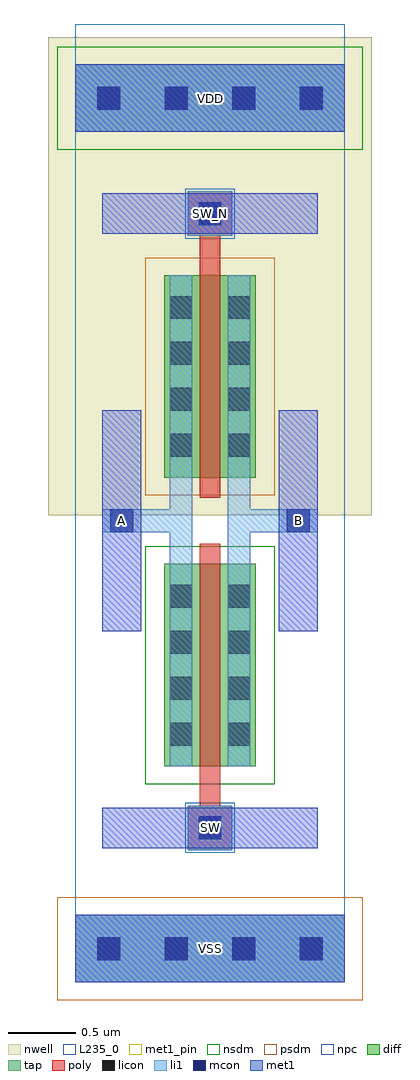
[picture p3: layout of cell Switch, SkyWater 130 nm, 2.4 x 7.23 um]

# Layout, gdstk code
import gdstk
lib = gdstk.Library(unit=1e-6, precision=1e-09)
def R(c, l, rs):  # rectangles x0, y0, x1, y1
    for r in rs: c.add(gdstk.rectangle(r[:2], r[2:], *l))
def A(c, l, x, y, w, h, nx, ny, dx, dy):  # array of equal rectangles
    R(c, l, [(x+i*dx, y+j*dy, x+i*dx+w, y+j*dy+h) for i in range(nx) for j in range(ny)])
nwell = (64, 20)
diff = (65, 20)
tap = (65, 44)
poly = (66, 20)
licon = (66, 44)
li1 = (67, 20)
mcon = (67, 44)
met1_pin = (68, 16)
met1 = (68, 20)
nsdm = (93, 44)
psdm = (94, 20)
npc = (95, 20)
L235_0 = (235, 0)

nfet_01v8_cdns_795853916 = lib.new_cell('nfet_01v8_CDNS_7958539161981')
R(nfet_01v8_cdns_795853916, diff, [(-0.265,0,0,1.5), (0,0,0.15,1.5), (0.15,0,0.415,1.5)])
R(nfet_01v8_cdns_795853916, poly, [(0,-0.15,0.15,-0.095), (0,-0.095,0.15,0), (0,0,0.15,1.5), (0,1.5,0.15,1.595), (0,1.595,0.15,1.65)])
A(nfet_01v8_cdns_795853916, licon, -0.225, 0.155, 0.17, 0.17, 1, 4, 0, 0.34)
A(nfet_01v8_cdns_795853916, licon, 0.205, 0.155, 0.17, 0.17, 1, 4, 0, 0.34)
R(nfet_01v8_cdns_795853916, li1, [(-0.225,0,-0.055,1.5), (0.205,0,0.375,1.5)])
R(nfet_01v8_cdns_795853916, nsdm, [(-0.405,-0.13,0.555,1.63)])

pfet_01v8_cdns_795853916 = lib.new_cell('pfet_01v8_CDNS_7958539161982')
R(pfet_01v8_cdns_795853916, nwell, [(-0.445,-0.18,0.595,1.68)])
R(pfet_01v8_cdns_795853916, diff, [(-0.265,0,0,1.5), (0,0,0.15,1.5), (0.15,0,0.415,1.5)])
R(pfet_01v8_cdns_795853916, poly, [(0,-0.15,0.15,-0.095), (0,-0.095,0.15,0), (0,0,0.15,1.5), (0,1.5,0.15,1.595), (0,1.595,0.15,1.65)])
A(pfet_01v8_cdns_795853916, licon, -0.225, 0.155, 0.17, 0.17, 1, 4, 0, 0.34)
A(pfet_01v8_cdns_795853916, licon, 0.205, 0.155, 0.17, 0.17, 1, 4, 0, 0.34)
R(pfet_01v8_cdns_795853916, li1, [(-0.225,0,-0.055,1.5), (0.205,0,0.375,1.5)])
R(pfet_01v8_cdns_795853916, psdm, [(-0.405,-0.13,0.555,1.63)])

switch = lib.new_cell('Switch')
R(switch, nwell, [(-0.2,3.46,2.2,7)])
R(switch, tap, [(0,0,2,0.5), (0,6.3,2,6.8)])
R(switch, poly, [(0.835,0.98,1.165,1.31), (0.925,0.98,1.075,1.6), (0.925,5.24,1.075,5.86), (0.835,5.53,1.165,5.86)])
A(switch, licon, 0.165, 0.165, 0.17, 0.17, 4, 2, 0.5, 6.3)
R(switch, licon, [(0.915,1.06,1.085,1.23), (0.915,5.61,1.085,5.78)])
R(switch, li1, [(0,0,2,0.5), (0.835,0.98,1.165,1.31), (0.7,1.6,0.87,5.24), (1.13,1.6,1.3,5.24), (0.2,3.335,0.87,3.505), (1.13,3.335,1.8,3.505), (0.835,5.53,1.165,5.86), (0,6.3,2,6.8)])
A(switch, mcon, 0.165, 0.165, 0.17, 0.17, 4, 2, 0.5, 6.3)
R(switch, mcon, [(0.915,1.06,1.085,1.23), (0.26,3.335,0.43,3.505), (1.57,3.335,1.74,3.505), (0.915,5.61,1.085,5.78)])
R(switch, met1_pin, [(0,0,2,0.5), (0.2,0.995,1.8,1.295), (0.2,2.6,0.49,4.24), (1.51,2.6,1.8,4.24), (0.2,5.545,1.8,5.845), (0,6.3,2,6.8)])
R(switch, met1, [(0,0,2,0.5), (0.2,0.995,1.8,1.295), (0.2,2.6,0.49,4.24), (1.51,2.6,1.8,4.24), (0.2,5.545,1.8,5.845), (0,6.3,2,6.8)])
R(switch, nsdm, [(-0.13,6.17,2.13,6.93)])
R(switch, psdm, [(-0.13,-0.13,2.13,0.63)])
R(switch, npc, [(0.815,0.96,1.185,1.33), (0.815,5.51,1.185,5.88)])
R(switch, L235_0, [(0,0,2,7.1)])
switch.add(gdstk.Reference(nfet_01v8_cdns_795853916, (0.925,1.6)))
switch.add(gdstk.Reference(pfet_01v8_cdns_795853916, (0.925,3.74)))
switch.add(gdstk.Label('VDD', (1,6.55), layer=68, texttype=5))
switch.add(gdstk.Label('VSS', (1,0.25), layer=68, texttype=5))
switch.add(gdstk.Label('B', (1.655,3.42), layer=68, texttype=5))
switch.add(gdstk.Label('A', (0.345,3.42), layer=68, texttype=5))
switch.add(gdstk.Label('SW_N', (1,5.695), layer=68, texttype=5))
switch.add(gdstk.Label('SW', (1,1.145), layer=68, texttype=5))

lib.write_gds('Switch.gds')
